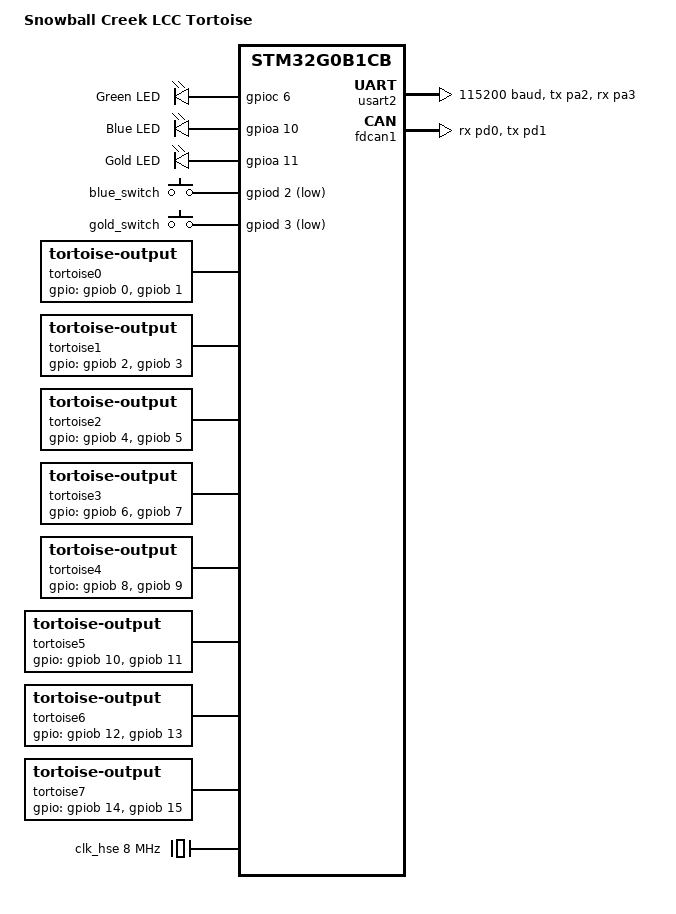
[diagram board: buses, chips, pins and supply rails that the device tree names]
/*
 * Copyright (c) 2020 Thomas Stranger
 *
 * SPDX-License-Identifier: Apache-2.0
 */

/dts-v1/;
#include <st/g0/stm32g0b1Xb.dtsi>
#include <st/g0/stm32g0b1c(b-c-e)tx-pinctrl.dtsi>
#include <zephyr/dt-bindings/input/input-event-codes.h>
#include <zephyr/dt-bindings/pinctrl/stm32-pinctrl.h>
#include <zephyr/dt-bindings/pinctrl/stm32-pinctrl-common.h>

/ {
	model = "Snowball Creek LCC Tortoise";
	compatible = "st,stm32g0b1cb-tortoise";

	chosen {
		zephyr,console = &usart2;
		zephyr,shell-uart = &usart2;
		zephyr,uart-mcumgr = &usart2;
		zephyr,sram = &sram0;
		zephyr,flash = &flash0;
		zephyr,code-partition = &slot0_partition;
		zephyr,canbus = &fdcan1;
	};

	leds: leds {
		compatible = "gpio-leds";
		green_led: led_6 {
			gpios = <&gpioc 6 GPIO_ACTIVE_HIGH>;
			label = "Green LED";
		};
		blue_led: led_10 {
			gpios = <&gpioa 10 GPIO_ACTIVE_HIGH>;
			label = "Blue LED";
		};
		gold_led: led_11 {
			gpios = <&gpioa 11 GPIO_ACTIVE_HIGH>;
			label = "Gold LED";
		};
	};

	gpio_keys {
		compatible = "gpio-keys";
		blue_switch: button_blue {
			label = "blue_switch";
			gpios = <&gpiod 2 (GPIO_ACTIVE_LOW | GPIO_PULL_UP)>;
		};
		gold_switch: button_gold {
			label = "gold_switch";
			gpios = <&gpiod 3 (GPIO_ACTIVE_LOW | GPIO_PULL_UP)>;
		};
	};

	aliases {
		greenled = &green_led;
		blueled = &blue_led;
		goldled = &gold_led;
		blueswitch = &blue_switch;
		//sw0 = &user_button;
		//watchdog0 = &iwdg;
		//die-temp0 = &die_temp;
		//volt-sensor0 = &vref;
		//volt-sensor1 = &vbat;
	};
};

/*
&clk_lsi {
	status = "okay";
};

&clk_hsi {
	status = "okay";
};

&clk_hsi48 {
	status = "okay";
	crs-usb-sof;
};
*/

&clk_hse {
	status = "okay";
	hse-bypass;
	clock-frequency = <DT_FREQ_M(8)>;
};

&pll {
	div-m = <1>;
	mul-n = <12>;
	div-p = <2>;
	div-q = <3>;
	div-r = <4>;
	clocks = <&clk_hse>;
	status = "okay";
};


&rcc {
	clocks = <&pll>;
	clock-frequency = <DT_FREQ_M(24)>;
	ahb-prescaler = <1>;
	apb1-prescaler = <1>;
};


/*
zephyr_udc0: &usb {
	pinctrl-0 = <&usb_dm_pa11 &usb_dp_pa12>;
	pinctrl-names = "default";
	status = "okay";
};
*/

/*
&usart1 {
	pinctrl-0 = <&usart1_tx_pc4 &usart1_rx_pc5>;
	pinctrl-names = "default";
	current-speed = <115200>;
	status = "disabled";
};
*/

&usart2 {
	pinctrl-0 = <&usart2_tx_pa2 &usart2_rx_pa3>;
	pinctrl-names = "default";
	current-speed = <115200>;
	status = "okay";
};

/*
&rtc {
	clocks = <&rcc STM32_CLOCK_BUS_APB1 0x00000400>,
		 <&rcc STM32_SRC_LSI RTC_SEL(2)>;
	status = "okay";
};

&iwdg {
	status = "okay";
};

&timers3 {
	st,prescaler = <10000>;
	status = "okay";
	pwm3: pwm {
		status = "okay";
		pinctrl-0 = <&tim3_ch1_pb4>;
		pinctrl-names = "default";
	};
};

&timers15 {
	st,prescaler = <10000>;
	status = "okay";
	pwm15: pwm {
		status = "okay";
		pinctrl-0 = <&tim15_ch1_pb14>;
		pinctrl-names = "default";
	};
};

&i2c1 {
	pinctrl-0 = <&i2c1_scl_pb8 &i2c1_sda_pb9>;
	pinctrl-names = "default";
	status = "okay";
	clock-frequency = <I2C_BITRATE_FAST>;
};

&i2c2 {
	pinctrl-0 = <&i2c2_scl_pa11 &i2c2_sda_pa12>;
	pinctrl-names = "default";
	status = "okay";
	clock-frequency = <I2C_BITRATE_FAST>;
};

&spi1 {
	pinctrl-0 = <&spi1_nss_pb0 &spi1_sck_pa5
		     &spi1_miso_pa6 &spi1_mosi_pa7>;
	pinctrl-names = "default";
	status = "okay";
};

&spi2 {
	pinctrl-0 = <&spi2_nss_pd0 &spi2_sck_pd1
		     &spi2_miso_pd3 &spi2_mosi_pd4>;
	pinctrl-names = "default";
	status = "okay";
};

&adc1 {
	pinctrl-0 = <&adc1_in0_pa0 &adc1_in1_pa1>;
	pinctrl-names = "default";
	st,adc-clock-source = <SYNC>;
	st,adc-prescaler = <4>;
	status = "okay";
};

&die_temp {
	status = "okay";
};

&dac1 {
	status = "okay";
	pinctrl-0 = <&dac1_out1_pa4>;
	pinctrl-names = "default";
};

*/
&fdcan1 {
	clocks = <&rcc STM32_CLOCK_BUS_APB1 0x00001000>,
		 <&rcc STM32_SRC_PLL_Q FDCAN_SEL(1)>;
	pinctrl-0 = <&fdcan1_rx_pd0 &fdcan1_tx_pd1>;
	pinctrl-names = "default";
	status = "okay";
};

/*
&fdcan2 {
	clocks = <&rcc STM32_CLOCK_BUS_APB1 0x00001000>,
		 <&rcc STM32_SRC_PLL_Q FDCAN_SEL(1)>;
	pinctrl-0 = <&fdcan2_rx_pb0 &fdcan2_tx_pb1>;
	pinctrl-names = "default";
	status = "okay";
};
*/

&flash0 {
	partitions {
		compatible = "fixed-partitions";
		#address-cells = <1>;
		#size-cells = <1>;

		boot_partition: partition@0 {
			label = "mcuboot";
			reg = <0x00000000 DT_SIZE_K(48)>;
			read-only;
		};
		slot0_partition: partition@C000 {
			label = "image-0";
			reg = <0x0000C000 DT_SIZE_K(200)>;
		};
		slot1_partition: partition@3E000 {
			label = "image-1";
			reg = <0x0003E000 DT_SIZE_K(200)>;
		};
		/* final 64KiB reserved for app storage partition */
		storage_partition: partition@70000 {
			label = "storage";
			reg = <0x00070000 DT_SIZE_K(64)>;
		};
	};
};

/*
stm32_lp_tick_source: &lptim1 {
	clocks = <&rcc STM32_CLOCK_BUS_APB1 0x80000000>,
		 <&rcc STM32_SRC_LSI LPTIM1_SEL(1)>;
	status = "okay";
};
*/

/*
&vref {
	status = "okay";
};

&vbat {
	status = "okay";
};
*/

/ {
	tortoise0: tort0 {
		compatible = "tortoise-output";
		gpios = <&gpiob 0 GPIO_ACTIVE_HIGH>,
		        <&gpiob 1 GPIO_ACTIVE_HIGH>;
		status = "okay";
        };
	tortoise1: tort1 {
		compatible = "tortoise-output";
		gpios = <&gpiob 2 GPIO_ACTIVE_HIGH>,
		        <&gpiob 3 GPIO_ACTIVE_HIGH>;
		status = "okay";
        };
	tortoise2: tort2 {
		compatible = "tortoise-output";
		gpios = <&gpiob 4 GPIO_ACTIVE_HIGH>,
		        <&gpiob 5 GPIO_ACTIVE_HIGH>;
		status = "okay";
        };
	tortoise3: tort3 {
		compatible = "tortoise-output";
		gpios = <&gpiob 6 GPIO_ACTIVE_HIGH>,
		        <&gpiob 7 GPIO_ACTIVE_HIGH>;
		status = "okay";
        };
	tortoise4: tort4 {
		compatible = "tortoise-output";
		gpios = <&gpiob 8 GPIO_ACTIVE_HIGH>,
		        <&gpiob 9 GPIO_ACTIVE_HIGH>;
		status = "okay";
        };
	tortoise5: tort5 {
		compatible = "tortoise-output";
		gpios = <&gpiob 10 GPIO_ACTIVE_HIGH>,
		        <&gpiob 11 GPIO_ACTIVE_HIGH>;
		status = "okay";
        };
	tortoise6: tort6 {
		compatible = "tortoise-output";
		gpios = <&gpiob 12 GPIO_ACTIVE_HIGH>,
		        <&gpiob 13 GPIO_ACTIVE_HIGH>;
		status = "okay";
        };
	tortoise7: tort7 {
		compatible = "tortoise-output";
		gpios = <&gpiob 14 GPIO_ACTIVE_HIGH>,
		        <&gpiob 15 GPIO_ACTIVE_HIGH>;
		status = "okay";
        };
};

